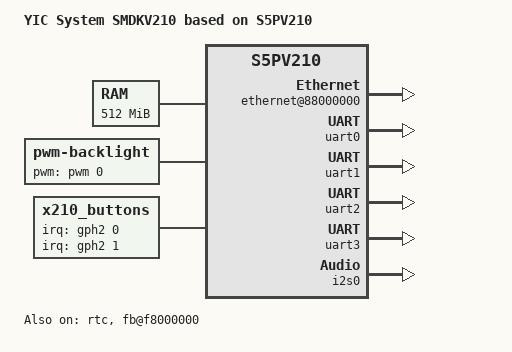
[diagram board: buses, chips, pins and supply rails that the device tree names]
// SPDX-License-Identifier: GPL-2.0
/*
 * Samsung's S5PV210 SoC device tree source
 *
 * Copyright (c) 2013-2014 Samsung Electronics, Co. Ltd.
 *
 * Mateusz Krawczuk <m.krawczuk@partner.samsung.com>
 * Tomasz Figa <t.figa@samsung.com>
 *
 * Board device tree source for YIC System SMDV210 board.
 *
 * NOTE: This file is completely based on original board file for mach-smdkv210
 * available in Linux 3.15 and intends to provide equivalent level of hardware
 * support. Due to lack of hardware, _no_ testing has been performed.
 */

/dts-v1/;
#include <dt-bindings/input/input.h>
#include "s5pv210.dtsi"

/ {
	model = "YIC System SMDKV210 based on S5PV210";
	compatible = "yic,smdkv210", "samsung,s5pv210";

	chosen {
		bootargs = "console=ttySAC2,115200n8 root=/dev/nfs nfsroot=192.168.0.101:/home/run/work/rootfs/rootfs_3.16.57 ip=192.1    68.0.20 init=/linuxrci earlyprintk";
	};

	memory@30000000 {
		device_type = "memory";
		reg = <0x30000000 0x20000000>;
	};

	ethernet@88000000 {
        compatible = "davicom,dm9000";
        reg = <0x88000000 0x2 0x88000004 0x2>;
        interrupt-parent = <&gph1>;
        interrupts = <2 4>;
        local-mac-address = [00 00 de ad be ef];
        davicom,no-eeprom;
        clocks = <&clocks CLK_SROMC>;
        clock-names = "sromc";
    };  
	backlight {
		compatible = "pwm-backlight";
		pwms = <&pwm 0 5000000 0>;
		brightness-levels = <0 4 8 16 32 64 128 255>;
		default-brightness-level = <6>;
		pinctrl-names = "default";
		pinctrl-0 = <&pwm3_out>;
	};

	buttons {
		compatible = "x210_buttons";
		interrupts-extended = <&gph2 0 3>, <&gph2 1 3>, <&gph2 2 3>, <&gph2 3 3>;
	};


	/* s3c-fb.c support s5pv210 */
	fb@f8000000 {
		compatible = "samsung,s5pv210-fb";
		interrupt-parent = <&vic2>;
		reg = <0xf8000000 0x20000>;
		interrupt-names =  "fifo", "vsync", "lcd_sys";
		interrupts = <0>, <1>, <2>;
		clocks = <&clocks SCLK_FIMD>, <&clocks CLK_FIMD>;
		clock-names = "sclk_fimd", "fimd";
		status = "okay";
		/* lcd_clk = clk and sync enable lcd mode , lcd_ctrl = gpd0 low power  , lcd_sys = sys_oe pin func enable */
		pinctrl-0 = <&lcd_data24 &lcd_clk &lcd_ctrl &lcd_sys_oe>;	
		pinctrl-names = "default";

		/* 1024x600@60Hz */
		clock-frequency = <52106200>;
		pixclock = <19528>;
		xres = /bits/ 16 <1024>;
		yres = /bits/ 16 <600>;
		max_bpp = /bits/ 16 <32>;
		default_bpp = /bits/ 16 <24>;
		right_margin = <160>;
		left_margin = <140>;
		hsync-len = <20>;
		upper_margin = <20>;
		lower_margin = <12>;
		vsync-len = <3>;
		hsync-active = <1>;
		vsync-active = <1>;
		de-active = <0>;
		pixelclk-active = <1>;
		vidout = <0>;
		pnrmode = <0>;

	};  


};


&xusbxti {
	clock-frequency = <24000000>;
};

&uart0 {
	status = "okay";
};

&uart1 {
	status = "okay";
};

&uart2 {
	status = "okay";
};

&uart3 {
	status = "okay";
};

&rtc {
	status = "okay";
};

&i2s0 {
	status = "okay";
};
